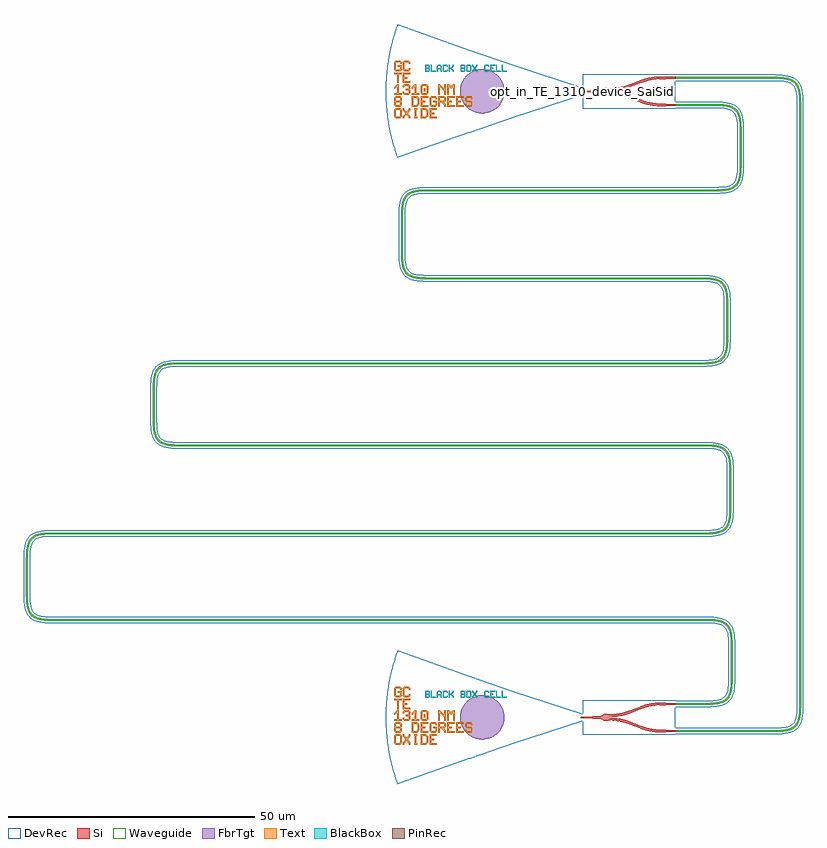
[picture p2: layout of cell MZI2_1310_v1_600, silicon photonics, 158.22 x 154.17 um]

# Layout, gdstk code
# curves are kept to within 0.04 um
import gdstk
lib = gdstk.Library(unit=1e-6, precision=1e-09)
def R(c, l, rs):  # rectangles x0, y0, x1, y1
    for r in rs: c.add(gdstk.rectangle(r[:2], r[2:], *l))
def P(c, l, *ps):  # polygons
    for p in ps: c.add(gdstk.Polygon(p, *l))
Si = (1, 0)
PinRec = (1, 10)
Waveguide = (1, 99)
Text = (10, 0)
DevRec = (68, 0)
FbrTgt = (81, 0)
BlackBox = (998, 0)

text = lib.new_cell('TEXT')
P(text, BlackBox, [(0,0),(0,1.4),(0.8,1.4),(1,1.2),(0.2,1.2),(0.2,0.8),(0.7,0.8),(0.8,0.9),(0.8,1.1),(0.7,1.2),(1,1.2),(1,0.8),(0.9,0.7),(1,0.6),(0.2,0.6),(0.2,0.2),(0.7,0.2),(0.8,0.3),(0.8,0.5),(0.7,0.6),(1,0.6),(1,0.2),(0.8,0)],
  [(1.2,0),(1.2,1.4),(1.4,1.4),(1.4,0.2),(2.2,0.2),(2.2,0)],
  [(2.4,0),(2.4,1.1),(2.7,1.4),(3.1,1.4),(3.3,1.2),(2.8,1.2),(2.6,1),(2.6,0.7),(3.2,0.7),(3.2,1),(3,1.2),(3.3,1.2),(3.4,1.1),(3.4,0),(3.2,0),(3.2,0.5),(2.6,0.5),(2.6,0)],
  [(3.8,0),(3.6,0.2),(3.6,1.2),(3.8,1.4),(4.4,1.4),(4.6,1.2),(4.6,1),(4.4,1),(4.4,1.1),(4.3,1.2),(3.9,1.2),(3.8,1.1),(3.8,0.3),(3.9,0.2),(4.3,0.2),(4.4,0.3),(4.4,0.4),(4.6,0.4),(4.6,0.2),(4.4,0)],
  [(4.8,0),(4.8,1.4),(5,1.4),(5,0.8),(5.2,0.8),(5.6,1.2),(5.6,1.4),(5.8,1.4),(5.8,1.1),(5.4,0.7),(5.8,0.3),(5.8,0),(5.6,0),(5.6,0.2),(5.2,0.6),(5,0.6),(5,0)],
  [(7.2,0),(7.2,1.4),(8,1.4),(8.2,1.2),(7.4,1.2),(7.4,0.8),(7.9,0.8),(8,0.9),(8,1.1),(7.9,1.2),(8.2,1.2),(8.2,0.8),(8.1,0.7),(8.2,0.6),(7.4,0.6),(7.4,0.2),(7.9,0.2),(8,0.3),(8,0.5),(7.9,0.6),(8.2,0.6),(8.2,0.2),(8,0)],
  [(8.6,0),(8.4,0.2),(8.4,1.2),(8.6,1.4),(9.2,1.4),(9.4,1.2),(9.4,0.7),(9.2,0.7),(9.2,1.1),(9.1,1.2),(8.7,1.2),(8.6,1.1),(8.6,0.3),(8.7,0.2),(9.1,0.2),(9.2,0.3),(9.2,0.7),(9.4,0.7),(9.4,0.2),(9.2,0)],
  [(9.6,0),(9.6,0.3),(9.9,0.6),(9.9,0.8),(9.6,1.1),(9.6,1.4),(9.8,1.4),(9.8,1.2),(10.1,0.9),(10.4,1.2),(10.4,1.4),(10.6,1.4),(10.6,1.1),(10.3,0.8),(10.3,0.6),(10.6,0.3),(10.6,0),(10.4,0),(10.4,0.2),(10.1,0.5),(9.8,0.2),(9.8,0)],
  [(12.2,0),(12,0.2),(12,1.2),(12.2,1.4),(12.8,1.4),(13,1.2),(13,1),(12.8,1),(12.8,1.1),(12.7,1.2),(12.3,1.2),(12.2,1.1),(12.2,0.3),(12.3,0.2),(12.7,0.2),(12.8,0.3),(12.8,0.4),(13,0.4),(13,0.2),(12.8,0)],
  [(13.2,0),(13.2,1.4),(14.2,1.4),(14.2,1.2),(13.4,1.2),(13.4,0.8),(13.8,0.8),(13.8,0.6),(13.4,0.6),(13.4,0.2),(14.2,0.2),(14.2,0)],
  [(14.4,0),(14.4,1.4),(14.6,1.4),(14.6,0.2),(15.4,0.2),(15.4,0)],
  [(15.6,0),(15.6,1.4),(15.8,1.4),(15.8,0.2),(16.6,0.2),(16.6,0)])

gc_te_1310_8degoxide_bb = lib.new_cell('GC_TE_1310_8degOxide_BB')
R(gc_te_1310_8degoxide_bb, Si, [(-0.4,-0.175,0,0.175)])
R(gc_te_1310_8degoxide_bb, Text, [(-32.27,0.06,-31.97,0.66)])
P(gc_te_1310_8degoxide_bb, Text, [(-37.67,1.71),(-37.67,3.51),(-38.27,3.51),(-38.27,3.81),(-36.77,3.81),(-36.77,3.51),(-37.37,3.51),(-37.37,1.71)],
  [(-37.97,-5.49),(-38.27,-5.19),(-38.27,-3.69),(-37.97,-3.39),(-37.07,-3.39),(-36.77,-3.69),(-36.77,-4.44),(-37.07,-4.44),(-37.07,-3.84),(-37.22,-3.69),(-37.82,-3.69),(-37.97,-3.84),(-37.97,-5.04),(-37.82,-5.19),(-37.22,-5.19),(-37.07,-5.04),(-37.07,-4.44),(-36.77,-4.44),(-36.77,-5.19),(-37.07,-5.49)],
  [(-31.07,-5.49),(-31.07,-3.39),(-29.57,-3.39),(-29.57,-3.69),(-30.77,-3.69),(-30.77,-4.29),(-30.17,-4.29),(-30.17,-4.59),(-30.77,-4.59),(-30.77,-5.19),(-29.57,-5.19),(-29.57,-5.49)],
  [(-32.87,-3.09),(-32.87,-0.99),(-31.37,-0.99),(-31.37,-1.29),(-32.57,-1.29),(-32.57,-1.89),(-31.97,-1.89),(-31.97,-2.19),(-32.57,-2.19),(-32.57,-2.79),(-31.37,-2.79),(-31.37,-3.09)],
  [(-27.47,-3.09),(-27.47,-0.99),(-25.97,-0.99),(-25.97,-1.29),(-27.17,-1.29),(-27.17,-1.89),(-26.57,-1.89),(-26.57,-2.19),(-27.17,-2.19),(-27.17,-2.79),(-25.97,-2.79),(-25.97,-3.09)],
  [(-25.67,-3.09),(-25.67,-0.99),(-24.17,-0.99),(-24.17,-1.29),(-25.37,-1.29),(-25.37,-1.89),(-24.77,-1.89),(-24.77,-2.19),(-25.37,-2.19),(-25.37,-2.79),(-24.17,-2.79),(-24.17,-3.09)],
  [(-36.47,1.71),(-36.47,3.81),(-34.97,3.81),(-34.97,3.51),(-36.17,3.51),(-36.17,2.91),(-35.57,2.91),(-35.57,2.61),(-36.17,2.61),(-36.17,2.01),(-34.97,2.01),(-34.97,1.71)],
  [(-27.47,-0.69),(-27.47,1.41),(-27.17,1.41),(-26.87,1.11),(-26.57,1.11),(-26.27,1.41),(-25.97,1.41),(-25.97,-0.69),(-26.27,-0.69),(-26.27,0.81),(-26.42,0.81),(-26.72,0.51),(-27.02,0.81),(-27.17,0.81),(-27.17,-0.69)],
  [(-29.27,-0.69),(-29.27,1.41),(-28.97,1.41),(-28.22,0.66),(-28.07,0.66),(-28.07,1.41),(-27.77,1.41),(-27.77,-0.69),(-28.07,-0.69),(-28.07,0.06),(-28.82,0.81),(-28.97,0.81),(-28.97,-0.69)],
  [(-34.22,-5.49),(-34.22,-5.19),(-34.07,-5.19),(-34.07,-3.69),(-34.22,-3.69),(-34.22,-3.39),(-33.62,-3.39),(-33.62,-3.69),(-33.77,-3.69),(-33.77,-5.19),(-33.62,-5.19),(-33.62,-5.49)],
  [(-36.17,-0.69),(-36.47,-0.39),(-36.47,-0.09),(-36.17,-0.09),(-36.17,-0.24),(-36.02,-0.39),(-35.42,-0.39),(-35.27,-0.24),(-35.27,0.06),(-35.42,0.21),(-35.87,0.21),(-35.87,0.51),(-35.42,0.51),(-35.27,0.66),(-35.27,0.96),(-35.42,1.11),(-36.02,1.11),(-36.17,0.96),(-36.17,0.81),(-36.47,0.81),(-36.47,1.11),(-36.17,1.41),(-35.27,1.41),(-34.97,1.11),(-34.97,0.51),(-35.12,0.36),(-34.97,0.21),(-34.97,-0.39),(-35.27,-0.69)],
  [(-29.27,-3.09),(-29.27,-0.99),(-28.07,-0.99),(-27.77,-1.29),(-28.97,-1.29),(-28.97,-1.89),(-28.22,-1.89),(-28.07,-1.74),(-28.07,-1.44),(-28.22,-1.29),(-27.77,-1.29),(-27.77,-1.89),(-28.07,-2.19),(-28.07,-2.34),(-27.77,-2.64),(-27.77,-3.09),(-28.07,-3.09),(-28.07,-2.79),(-28.67,-2.19),(-28.97,-2.19),(-28.97,-3.09)],
  [(-30.77,-3.09),(-31.07,-2.79),(-31.07,-1.29),(-30.77,-0.99),(-29.87,-0.99),(-29.57,-1.29),(-29.57,-1.59),(-29.87,-1.59),(-29.87,-1.44),(-30.02,-1.29),(-30.62,-1.29),(-30.77,-1.44),(-30.77,-2.64),(-30.62,-2.79),(-30.02,-2.79),(-29.87,-2.64),(-29.87,-2.19),(-30.32,-2.19),(-30.32,-1.89),(-29.57,-1.89),(-29.57,-2.79),(-29.87,-3.09)],
  [(-37.97,4.11),(-38.27,4.41),(-38.27,5.91),(-37.97,6.21),(-37.07,6.21),(-36.77,5.91),(-36.77,5.61),(-37.07,5.61),(-37.07,5.76),(-37.22,5.91),(-37.82,5.91),(-37.97,5.76),(-37.97,4.56),(-37.82,4.41),(-37.22,4.41),(-37.07,4.56),(-37.07,5.01),(-37.52,5.01),(-37.52,5.31),(-36.77,5.31),(-36.77,4.41),(-37.07,4.11)],
  [(-32.57,-0.69),(-32.87,-0.39),(-32.87,1.11),(-32.57,1.41),(-31.67,1.41),(-31.37,1.11),(-32.42,1.11),(-32.57,0.96),(-32.57,-0.24),(-32.42,-0.39),(-31.82,-0.39),(-31.67,-0.24),(-31.67,0.96),(-31.82,1.11),(-31.37,1.11),(-31.37,-0.39),(-31.67,-0.69)],
  [(-32.87,-5.49),(-32.87,-3.39),(-31.82,-3.39),(-31.52,-3.69),(-32.57,-3.69),(-32.57,-5.19),(-31.97,-5.19),(-31.67,-4.89),(-31.67,-3.99),(-31.97,-3.69),(-31.52,-3.69),(-31.37,-3.84),(-31.37,-5.04),(-31.82,-5.49)],
  [(-34.67,-3.09),(-34.67,-0.99),(-33.62,-0.99),(-33.32,-1.29),(-34.37,-1.29),(-34.37,-2.79),(-33.77,-2.79),(-33.47,-2.49),(-33.47,-1.59),(-33.77,-1.29),(-33.32,-1.29),(-33.17,-1.44),(-33.17,-2.64),(-33.62,-3.09)],
  [(-23.57,-3.09),(-23.87,-2.79),(-23.87,-2.49),(-23.57,-2.49),(-23.57,-2.64),(-23.42,-2.79),(-22.82,-2.79),(-22.67,-2.64),(-22.67,-2.34),(-22.82,-2.19),(-23.57,-2.19),(-23.87,-1.89),(-23.87,-1.29),(-23.57,-0.99),(-22.67,-0.99),(-22.37,-1.29),(-22.37,-1.59),(-22.67,-1.59),(-22.67,-1.44),(-22.82,-1.29),(-23.42,-1.29),(-23.57,-1.44),(-23.57,-1.74),(-23.42,-1.89),(-22.67,-1.89),(-22.37,-2.19),(-22.37,-2.79),(-22.67,-3.09)],
  [(-37.97,-3.09),(-38.27,-2.79),(-38.27,-2.19),(-38.12,-2.04),(-38.27,-1.89),(-38.27,-1.29),(-37.97,-0.99),(-37.07,-0.99),(-36.77,-1.29),(-37.82,-1.29),(-37.97,-1.44),(-37.97,-1.74),(-37.82,-1.89),(-37.22,-1.89),(-37.07,-1.74),(-37.07,-1.44),(-37.22,-1.29),(-36.77,-1.29),(-36.77,-1.89),(-36.92,-2.04),(-36.77,-2.19),(-37.82,-2.19),(-37.97,-2.34),(-37.97,-2.64),(-37.82,-2.79),(-37.22,-2.79),(-37.07,-2.64),(-37.07,-2.34),(-37.22,-2.19),(-36.77,-2.19),(-36.77,-2.79),(-37.07,-3.09)],
  [(-38.27,-0.69),(-38.27,-0.39),(-37.67,-0.39),(-37.67,0.81),(-37.82,0.81),(-38.12,0.51),(-38.27,0.51),(-38.27,0.81),(-37.67,1.41),(-37.37,1.41),(-37.37,-0.39),(-36.77,-0.39),(-36.77,-0.69)],
  [(-34.67,-0.69),(-34.67,-0.39),(-34.07,-0.39),(-34.07,0.81),(-34.22,0.81),(-34.52,0.51),(-34.67,0.51),(-34.67,0.81),(-34.07,1.41),(-33.77,1.41),(-33.77,-0.39),(-33.17,-0.39),(-33.17,-0.69)],
  [(-36.47,-5.49),(-36.47,-5.04),(-36.02,-4.59),(-36.02,-4.29),(-36.47,-3.84),(-36.47,-3.39),(-36.17,-3.39),(-36.17,-3.69),(-35.72,-4.14),(-35.27,-3.69),(-35.27,-3.39),(-34.97,-3.39),(-34.97,-3.84),(-35.42,-4.29),(-35.42,-4.59),(-34.97,-5.04),(-34.97,-5.49),(-35.27,-5.49),(-35.27,-5.19),(-35.72,-4.74),(-36.17,-5.19),(-36.17,-5.49)],
  [(-36.17,4.11),(-36.47,4.41),(-36.47,5.91),(-36.17,6.21),(-35.27,6.21),(-34.97,5.91),(-34.97,5.61),(-35.27,5.61),(-35.27,5.76),(-35.42,5.91),(-36.02,5.91),(-36.17,5.76),(-36.17,4.56),(-36.02,4.41),(-35.42,4.41),(-35.27,4.56),(-35.27,4.71),(-34.97,4.71),(-34.97,4.41),(-35.27,4.11)])
P(gc_te_1310_8degoxide_bb, DevRec, [(-37.607,-13.5),(-38.627,-10.245),(-39.378,-6.832),(-39.647,-5.058),(-39.835,-3.274),(-39.969,0.224),(-39.812,3.541),(-39.331,7.097),(-38.557,10.505),(-37.546,13.669),(-22.8,8.353),(-14.109,5.36),(0,0.75),(0,-0.75),(-14.109,-5.36)])
P(gc_te_1310_8degoxide_bb, FbrTgt, [(-20.621,-4.5),(-21.495,-4.37),(-22.326,-4.073),(-23.084,-3.619),(-23.738,-3.026),(-24.264,-2.316),(-24.642,-1.518),(-24.857,-0.661),(-24.9,0.221),(-24.77,1.095),(-24.473,1.926),(-24.019,2.684),(-23.426,3.338),(-22.716,3.864),(-21.918,4.242),(-21.061,4.457),(-20.179,4.5),(-19.305,4.37),(-18.474,4.073),(-17.716,3.619),(-17.062,3.026),(-16.536,2.316),(-16.158,1.518),(-15.943,0.661),(-15.9,-0.221),(-16.03,-1.095),(-16.327,-1.926),(-16.781,-2.684),(-17.374,-3.338),(-18.084,-3.864),(-18.882,-4.242),(-19.739,-4.457)])
gc_te_1310_8degoxide_bb.add(gdstk.FlexPath([(-0.01,0),(0.01,0)], 0.35, ends="flush", simple_path=True, layer=1, datatype=10))  # PinRec
gc_te_1310_8degoxide_bb.add(gdstk.Reference(text, (-32,4)))
gc_te_1310_8degoxide_bb.add(gdstk.Label('Lumerical_INTERCONNECT_library=Design kits/ebeam', (-29,-7), layer=68, texttype=0))
gc_te_1310_8degoxide_bb.add(gdstk.Label('Component=GC_TE_1310_8degOxide_BB', (-28,-5), layer=68, texttype=0))
gc_te_1310_8degoxide_bb.add(gdstk.Label('opt1', (0,0), layer=1, texttype=10))

ebeam_y_1310 = lib.new_cell('ebeam_y_1310')
R(ebeam_y_1310, Si, [(6.5,-3,7.4,-2.5), (-7.4,-0.25,-6,0.25), (6.5,2.5,7.4,3)])
P(ebeam_y_1310, Si, [(6.458,-3),(6.237,-2.997),(6.237,-2.497),(6.5,-2.5),(6.5,-3)],
  [(5.033,-2.908),(3.59,-2.634),(2.265,-2.21),(2.445,-1.744),(3.731,-2.154),(5.033,-2.404)],
  [(6.233,-2.997),(5.033,-2.908),(5.033,-2.404),(6.237,-2.497)],
  [(2.265,-2.21),(0.055,-1.356),(0.235,-0.89),(2.445,-1.744)],
  [(-0.762,-1.076),(-2.334,-0.724),(-4,-0.6),(-4,-0.1),(-2.381,-0.212),(-0.762,-0.555)],
  [(0.055,-1.356),(-0.762,-1.076),(-0.762,-0.555),(0.235,-0.89)],
  [(6.237,2.497),(6.237,2.997),(6.5,3),(6.5,2.5)],
  [(2.445,1.744),(2.267,2.211),(3.59,2.634),(5.033,2.908),(5.033,2.404),(3.731,2.154)],
  [(5.033,2.404),(5.033,2.908),(6.237,2.997),(6.237,2.497)],
  [(0.235,0.89),(0.055,1.356),(2.265,2.21),(2.445,1.744)],
  [(-4,0.1),(-4,0.6),(-2.334,0.724),(-0.762,1.076),(-0.762,0.555),(-2.381,0.212)],
  [(-0.762,0.555),(-0.762,1.076),(0.055,1.356),(0.235,0.89)],
  [(-5.122,-0.662),(-5.442,-0.374),(-5.808,-0.255),(-6,-0.25),(-6,0.25),(-5.817,0.253),(-5.442,0.374),(-5.122,0.662)],
  [(-4.957,-0.703),(-5.122,-0.662),(-5.122,0.662),(-4.538,0.703),(-4,0.6),(-4,-0.6),(-4.509,-0.701)],
  [(-7.4,-0.25),(-9.4,-0.175),(-9.4,0.175),(-7.4,0.25)],
  [(7.4,2.5),(7.4,3),(9.4,2.925),(9.4,2.575)],
  [(7.4,-3),(7.4,-2.5),(9.4,-2.575),(9.4,-2.925)])
R(ebeam_y_1310, DevRec, [(-9.4,-3.5,9.4,3.5)])
ebeam_y_1310.add(gdstk.FlexPath([(9.35,2.75),(9.45,2.75)], 0.35, ends="flush", simple_path=True, layer=1, datatype=10))  # PinRec
ebeam_y_1310.add(gdstk.FlexPath([(9.35,-2.75),(9.45,-2.75)], 0.35, ends="flush", simple_path=True, layer=1, datatype=10))  # PinRec
ebeam_y_1310.add(gdstk.FlexPath([(-9.35,0),(-9.45,0)], 0.35, ends="flush", simple_path=True, layer=1, datatype=10))  # PinRec
ebeam_y_1310.add(gdstk.Label('Ref: Y Zhang, Opt. Express, 21/1, 2013, for 1550 nm\nWorks reasonably well at 1310 nm', (-9.25,-1), layer=10, texttype=0))
ebeam_y_1310.add(gdstk.Label('Lumerical_INTERCONNECT_library=Design kits/ebeam', (-6.86,-2.19), layer=68, texttype=0))
ebeam_y_1310.add(gdstk.Label('Component=ebeam_y_1310', (-9,1.5), layer=68, texttype=0))
ebeam_y_1310.add(gdstk.Label('opt2', (9.4,2.75), layer=1, texttype=10))
ebeam_y_1310.add(gdstk.Label('opt3', (9.4,-2.75), layer=1, texttype=10))
ebeam_y_1310.add(gdstk.Label('opt1', (-9.4,0), layer=1, texttype=10))

waveguide_14 = lib.new_cell('Waveguide$14')
P(waveguide_14, Si, [(58.769,16.075),(58.769,16.425),(65.62,16.43),(67.248,16.564),(68.08,16.775),(68.63,17.034),(69.066,17.374),(69.466,17.911),(69.666,18.361),(69.848,19.039),(70.006,20.617),(70.015,28.28),(69.923,30.018),(69.665,31.17),(69.465,31.62),(69.213,31.995),(68.904,32.304),(68.529,32.556),(67.688,32.874),(66.582,33.052),(65.19,33.105),(-67.8,33.105),(-69.406,33.179),(-70.234,33.311),(-70.808,33.475),(-71.308,33.699),(-71.737,33.987),(-72.094,34.344),(-72.382,34.773),(-72.606,35.273),(-72.77,35.847),(-72.902,36.675),(-72.971,37.845),(-72.975,45.83),(-72.919,47.255),(-72.733,48.415),(-72.501,49.097),(-72.246,49.561),(-71.832,50.042),(-71.421,50.347),(-70.807,50.636),(-70.233,50.8),(-69.405,50.932),(-68.235,51.001),(64.89,51.005),(66.102,51.045),(66.948,51.144),(67.78,51.355),(68.33,51.614),(68.842,52.034),(69.22,52.597),(69.484,53.332),(69.644,54.263),(69.715,55.83),(69.687,64.706),(69.483,66.179),(69.32,66.69),(69.046,67.215),(68.766,67.556),(68.424,67.837),(67.899,68.111),(67.388,68.274),(66.282,68.452),(64.89,68.505),(-42.075,68.505),(-43.681,68.579),(-44.946,68.829),(-45.465,69.037),(-45.911,69.308),(-46.287,69.648),(-46.522,69.95),(-46.777,70.414),(-46.969,70.951),(-47.157,71.899),(-47.241,73.035),(-47.245,80.756),(-47.176,81.926),(-47.008,82.905),(-46.718,83.71),(-46.286,84.353),(-45.696,84.837),(-44.945,85.172),(-44.027,85.378),(-42.923,85.478),(64.28,85.495),(66.181,85.609),(66.914,85.763),(67.514,85.991),(68.077,86.369),(68.497,86.881),(68.798,87.556),(68.992,88.42),(69.104,90.103),(69.105,97.57),(69.013,99.308),(68.907,99.928),(68.71,100.58),(68.436,101.105),(68.156,101.446),(67.814,101.727),(67.404,101.952),(66.913,102.128),(66.18,102.282),(64.497,102.394),(8.29,102.395),(7.052,102.435),(5.856,102.601),(5.282,102.765),(4.782,102.989),(4.454,103.198),(4.078,103.538),(3.773,103.949),(3.588,104.304),(3.288,105.293),(3.17,106.146),(3.119,107.135),(3.133,116.269),(3.209,117.202),(3.397,118.15),(3.647,118.81),(4.079,119.453),(4.669,119.937),(5.283,120.226),(6.013,120.422),(7.053,120.556),(8.29,120.595),(67,120.595),(68.568,120.667),(69.765,120.903),(70.535,121.264),(70.876,121.544),(71.157,121.886),(71.382,122.296),(71.558,122.787),(71.772,124.028),(71.825,125.42),(71.807,133.583),(71.627,135.108),(71.43,135.76),(71.156,136.285),(70.714,136.774),(70.124,137.132),(69.357,137.378),(68.567,137.504),(67.217,137.574),(58.769,137.575),(58.769,137.925),(67.435,137.921),(68.605,137.852),(69.584,137.684),(70.266,137.452),(70.73,137.197),(71.211,136.783),(71.516,136.372),(71.805,135.758),(71.969,135.184),(72.101,134.356),(72.17,133.186),(72.171,124.985),(72.12,123.996),(72.002,123.143),(71.702,122.154),(71.294,121.484),(70.731,120.974),(69.871,120.569),(68.606,120.319),(67,120.245),(8.29,120.245),(7.079,120.206),(6.079,120.078),(5.281,119.851),(4.756,119.577),(4.267,119.135),(3.909,118.545),(3.697,117.919),(3.557,117.158),(3.475,116.054),(3.466,107.353),(3.504,106.359),(3.603,105.513),(3.859,104.561),(4.073,104.131),(4.338,103.774),(4.95,103.295),(5.4,103.095),(5.932,102.943),(6.897,102.799),(8.29,102.745),(64.501,102.744),(65.517,102.706),(66.397,102.601),(67.15,102.422),(67.669,102.214),(68.115,101.943),(68.491,101.603),(68.796,101.192),(69.085,100.578),(69.361,99.352),(69.455,97.57),(69.454,90.099),(69.338,88.368),(69.132,87.45),(68.797,86.699),(68.313,86.109),(67.67,85.677),(67.01,85.427),(66.233,85.263),(65.326,85.173),(64.28,85.145),(-42.907,85.128),(-44.132,85.007),(-44.964,84.796),(-45.609,84.477),(-46.098,84.035),(-46.456,83.445),(-46.702,82.678),(-46.846,81.713),(-46.898,80.538),(-46.891,73.047),(-46.809,71.943),(-46.633,71.047),(-46.457,70.556),(-46.232,70.146),(-45.951,69.804),(-45.61,69.524),(-45.2,69.299),(-44.709,69.123),(-43.643,68.927),(-42.075,68.855),(64.89,68.855),(66.314,68.8),(67.474,68.614),(68.156,68.382),(68.62,68.127),(69.014,67.804),(69.336,67.411),(69.591,66.947),(69.823,66.265),(69.971,65.462),(70.037,64.726),(70.064,55.609),(69.972,54.049),(69.784,53.101),(69.472,52.323),(69.102,51.798),(68.512,51.314),(67.898,51.025),(67.168,50.829),(66.128,50.695),(64.89,50.655),(-68.433,50.646),(-69.537,50.564),(-70.298,50.424),(-70.924,50.212),(-71.514,49.854),(-71.956,49.365),(-72.23,48.84),(-72.427,48.188),(-72.571,47.223),(-72.625,45.83),(-72.621,37.851),(-72.554,36.713),(-72.394,35.782),(-72.231,35.271),(-72.017,34.841),(-71.752,34.484),(-71.428,34.19),(-70.925,33.899),(-70.434,33.723),(-69.193,33.509),(-67.8,33.455),(65.19,33.455),(66.427,33.416),(67.623,33.25),(68.197,33.086),(68.697,32.862),(69.025,32.653),(69.401,32.313),(69.706,31.902),(69.944,31.42),(70.123,30.865),(70.247,30.233),(70.363,28.502),(70.356,20.605),(70.192,18.973),(70.042,18.38),(69.834,17.861),(69.402,17.218),(68.812,16.734),(68.061,16.399),(67.143,16.193),(65.626,16.08)])
P(waveguide_14, Waveguide, [(58.769,16.075),(58.769,16.425),(65.62,16.43),(67.248,16.564),(68.08,16.775),(68.63,17.034),(69.066,17.374),(69.466,17.911),(69.666,18.361),(69.848,19.039),(70.006,20.617),(70.015,28.28),(69.923,30.018),(69.665,31.17),(69.465,31.62),(69.213,31.995),(68.904,32.304),(68.529,32.556),(67.688,32.874),(66.582,33.052),(65.19,33.105),(-67.8,33.105),(-69.406,33.179),(-70.234,33.311),(-70.808,33.475),(-71.308,33.699),(-71.737,33.987),(-72.094,34.344),(-72.382,34.773),(-72.606,35.273),(-72.77,35.847),(-72.902,36.675),(-72.971,37.845),(-72.975,45.83),(-72.919,47.255),(-72.733,48.415),(-72.501,49.097),(-72.246,49.561),(-71.832,50.042),(-71.421,50.347),(-70.807,50.636),(-70.233,50.8),(-69.405,50.932),(-68.235,51.001),(64.89,51.005),(66.102,51.045),(66.948,51.144),(67.78,51.355),(68.33,51.614),(68.842,52.034),(69.22,52.597),(69.484,53.332),(69.644,54.263),(69.715,55.83),(69.687,64.706),(69.483,66.179),(69.32,66.69),(69.046,67.215),(68.766,67.556),(68.424,67.837),(67.899,68.111),(67.388,68.274),(66.282,68.452),(64.89,68.505),(-42.075,68.505),(-43.681,68.579),(-44.946,68.829),(-45.465,69.037),(-45.911,69.308),(-46.287,69.648),(-46.522,69.95),(-46.777,70.414),(-46.969,70.951),(-47.157,71.899),(-47.241,73.035),(-47.245,80.756),(-47.176,81.926),(-47.008,82.905),(-46.718,83.71),(-46.286,84.353),(-45.696,84.837),(-44.945,85.172),(-44.027,85.378),(-42.923,85.478),(64.28,85.495),(66.181,85.609),(66.914,85.763),(67.514,85.991),(68.077,86.369),(68.497,86.881),(68.798,87.556),(68.992,88.42),(69.104,90.103),(69.105,97.57),(69.013,99.308),(68.907,99.928),(68.71,100.58),(68.436,101.105),(68.156,101.446),(67.814,101.727),(67.404,101.952),(66.913,102.128),(66.18,102.282),(64.497,102.394),(8.29,102.395),(7.052,102.435),(5.856,102.601),(5.282,102.765),(4.782,102.989),(4.454,103.198),(4.078,103.538),(3.773,103.949),(3.588,104.304),(3.288,105.293),(3.17,106.146),(3.119,107.135),(3.133,116.269),(3.209,117.202),(3.397,118.15),(3.647,118.81),(4.079,119.453),(4.669,119.937),(5.283,120.226),(6.013,120.422),(7.053,120.556),(8.29,120.595),(67,120.595),(68.568,120.667),(69.765,120.903),(70.535,121.264),(70.876,121.544),(71.157,121.886),(71.382,122.296),(71.558,122.787),(71.772,124.028),(71.825,125.42),(71.807,133.583),(71.627,135.108),(71.43,135.76),(71.156,136.285),(70.714,136.774),(70.124,137.132),(69.357,137.378),(68.567,137.504),(67.217,137.574),(58.769,137.575),(58.769,137.925),(67.435,137.921),(68.605,137.852),(69.584,137.684),(70.266,137.452),(70.73,137.197),(71.211,136.783),(71.516,136.372),(71.805,135.758),(71.969,135.184),(72.101,134.356),(72.17,133.186),(72.171,124.985),(72.12,123.996),(72.002,123.143),(71.702,122.154),(71.294,121.484),(70.731,120.974),(69.871,120.569),(68.606,120.319),(67,120.245),(8.29,120.245),(7.079,120.206),(6.079,120.078),(5.281,119.851),(4.756,119.577),(4.267,119.135),(3.909,118.545),(3.697,117.919),(3.557,117.158),(3.475,116.054),(3.466,107.353),(3.504,106.359),(3.603,105.513),(3.859,104.561),(4.073,104.131),(4.338,103.774),(4.95,103.295),(5.4,103.095),(5.932,102.943),(6.897,102.799),(8.29,102.745),(64.501,102.744),(65.517,102.706),(66.397,102.601),(67.15,102.422),(67.669,102.214),(68.115,101.943),(68.491,101.603),(68.796,101.192),(69.085,100.578),(69.361,99.352),(69.455,97.57),(69.454,90.099),(69.338,88.368),(69.132,87.45),(68.797,86.699),(68.313,86.109),(67.67,85.677),(67.01,85.427),(66.233,85.263),(65.326,85.173),(64.28,85.145),(-42.907,85.128),(-44.132,85.007),(-44.964,84.796),(-45.609,84.477),(-46.098,84.035),(-46.456,83.445),(-46.702,82.678),(-46.846,81.713),(-46.898,80.538),(-46.891,73.047),(-46.809,71.943),(-46.633,71.047),(-46.457,70.556),(-46.232,70.146),(-45.951,69.804),(-45.61,69.524),(-45.2,69.299),(-44.709,69.123),(-43.643,68.927),(-42.075,68.855),(64.89,68.855),(66.314,68.8),(67.474,68.614),(68.156,68.382),(68.62,68.127),(69.014,67.804),(69.336,67.411),(69.591,66.947),(69.823,66.265),(69.971,65.462),(70.037,64.726),(70.064,55.609),(69.972,54.049),(69.784,53.101),(69.472,52.323),(69.102,51.798),(68.512,51.314),(67.898,51.025),(67.168,50.829),(66.128,50.695),(64.89,50.655),(-68.433,50.646),(-69.537,50.564),(-70.298,50.424),(-70.924,50.212),(-71.514,49.854),(-71.956,49.365),(-72.23,48.84),(-72.427,48.188),(-72.571,47.223),(-72.625,45.83),(-72.621,37.851),(-72.554,36.713),(-72.394,35.782),(-72.231,35.271),(-72.017,34.841),(-71.752,34.484),(-71.428,34.19),(-70.925,33.899),(-70.434,33.723),(-69.193,33.509),(-67.8,33.455),(65.19,33.455),(66.427,33.416),(67.623,33.25),(68.197,33.086),(68.697,32.862),(69.025,32.653),(69.401,32.313),(69.706,31.902),(69.944,31.42),(70.123,30.865),(70.247,30.233),(70.363,28.502),(70.356,20.605),(70.192,18.973),(70.042,18.38),(69.834,17.861),(69.402,17.218),(68.812,16.734),(68.061,16.399),(67.143,16.193),(65.626,16.08)])
P(waveguide_14, DevRec, [(58.769,15.575),(58.769,16.925),(65.189,16.925),(66.946,17.024),(67.789,17.205),(68.388,17.472),(68.805,17.826),(69.113,18.324),(69.417,19.495),(69.505,20.598),(69.515,28.279),(69.416,30.036),(69.235,30.879),(69.112,31.207),(68.804,31.705),(68.614,31.895),(68.116,32.203),(67.398,32.428),(66.426,32.563),(65.19,32.605),(-67.8,32.605),(-69.742,32.716),(-70.805,32.947),(-71.279,33.126),(-72.101,33.64),(-72.725,34.369),(-72.955,34.802),(-73.268,35.786),(-73.465,37.582),(-73.475,45.831),(-73.428,47.175),(-73.267,48.325),(-72.954,49.309),(-72.724,49.742),(-72.44,50.131),(-71.711,50.755),(-71.278,50.985),(-70.294,51.298),(-68.498,51.495),(64.89,51.505),(66.646,51.604),(67.489,51.785),(68.088,52.052),(68.505,52.406),(68.813,52.904),(69.038,53.622),(69.173,54.594),(69.215,63.679),(69.172,64.917),(69.037,65.889),(68.935,66.279),(68.668,66.878),(68.504,67.105),(68.087,67.459),(67.488,67.726),(67.098,67.828),(66.126,67.963),(64.89,68.005),(-42.075,68.005),(-44.017,68.116),(-45.08,68.347),(-45.554,68.526),(-46.376,69.04),(-47,69.769),(-47.409,70.676),(-47.64,71.739),(-47.74,72.982),(-47.739,81.02),(-47.639,82.262),(-47.408,83.325),(-46.999,84.232),(-46.375,84.961),(-45.986,85.245),(-45.079,85.654),(-44.016,85.885),(-42.773,85.985),(64.28,85.995),(66.036,86.094),(67.207,86.398),(67.705,86.706),(68.059,87.123),(68.326,87.722),(68.507,88.565),(68.605,90.321),(68.605,97.569),(68.562,98.807),(68.325,100.169),(68.202,100.497),(67.894,100.995),(67.704,101.185),(67.206,101.493),(66.035,101.797),(64.28,101.895),(8.29,101.895),(6.945,101.942),(5.795,102.103),(4.811,102.416),(3.989,102.93),(3.365,103.659),(3.135,104.092),(2.822,105.076),(2.625,106.872),(2.626,116.12),(2.726,117.362),(2.957,118.425),(3.366,119.332),(3.65,119.721),(3.99,120.061),(4.812,120.575),(5.796,120.888),(6.946,121.049),(8.29,121.095),(67,121.095),(68.237,121.138),(69.599,121.375),(70.198,121.642),(70.425,121.806),(70.779,122.223),(71.046,122.822),(71.148,123.212),(71.283,124.184),(71.314,133.402),(71.147,134.959),(71.045,135.349),(70.778,135.948),(70.424,136.365),(69.926,136.673),(69.208,136.898),(68.236,137.033),(58.769,137.075),(58.769,138.425),(67.698,138.415),(69.494,138.218),(70.478,137.905),(70.911,137.675),(71.3,137.391),(71.924,136.662),(72.154,136.229),(72.467,135.245),(72.664,133.45),(72.665,124.722),(72.468,122.926),(72.155,121.942),(71.641,121.12),(70.912,120.496),(70.005,120.087),(68.942,119.856),(67,119.745),(8.29,119.745),(7.054,119.703),(5.692,119.466),(5.093,119.199),(4.676,118.845),(4.368,118.347),(4.143,117.629),(3.976,116.072),(3.965,107.571),(4.063,105.815),(4.244,104.972),(4.367,104.644),(4.675,104.146),(4.865,103.956),(5.363,103.648),(6.081,103.423),(7.053,103.288),(8.29,103.245),(64.28,103.245),(66.221,103.135),(67.284,102.904),(67.758,102.725),(68.58,102.211),(68.92,101.871),(69.434,101.049),(69.613,100.575),(69.844,99.512),(69.955,97.571),(69.945,89.622),(69.748,87.826),(69.435,86.842),(68.921,86.02),(68.581,85.68),(67.759,85.166),(67.285,84.987),(66.222,84.756),(64.28,84.645),(-42.727,84.635),(-43.83,84.547),(-44.673,84.366),(-45.272,84.099),(-45.689,83.745),(-45.997,83.247),(-46.222,82.529),(-46.357,81.557),(-46.4,80.319),(-46.39,73.028),(-46.302,71.925),(-46.121,71.082),(-45.854,70.483),(-45.69,70.256),(-45.273,69.902),(-44.674,69.635),(-44.284,69.533),(-43.312,69.398),(-42.075,69.355),(64.89,69.355),(66.234,69.309),(67.384,69.148),(68.368,68.835),(68.801,68.605),(69.53,67.981),(69.814,67.592),(70.223,66.685),(70.357,66.175),(70.518,65.025),(70.565,63.681),(70.565,55.829),(70.455,53.889),(70.224,52.826),(69.815,51.919),(69.531,51.53),(68.802,50.906),(68.369,50.676),(67.385,50.363),(66.235,50.202),(64.89,50.155),(-68.452,50.145),(-70.008,49.978),(-70.726,49.753),(-71.224,49.445),(-71.578,49.028),(-71.845,48.429),(-72.082,47.067),(-72.125,38.281),(-72.083,37.044),(-71.948,36.072),(-71.846,35.682),(-71.579,35.083),(-71.415,34.856),(-70.998,34.502),(-70.399,34.235),(-70.009,34.133),(-69.037,33.998),(-67.8,33.955),(65.19,33.955),(66.534,33.909),(67.684,33.748),(68.668,33.435),(69.101,33.205),(69.83,32.581),(70.344,31.759),(70.523,31.285),(70.754,30.222),(70.865,28.281),(70.855,20.552),(70.658,18.756),(70.345,17.772),(69.831,16.95),(69.491,16.61),(68.669,16.096),(67.685,15.783),(65.89,15.586)])
waveguide_14.add(gdstk.FlexPath([(58.779,137.75),(58.759,137.75)], 0.35, ends="flush", simple_path=True, layer=1, datatype=10))  # PinRec
waveguide_14.add(gdstk.FlexPath([(58.779,16.25),(58.759,16.25)], 0.35, ends="flush", simple_path=True, layer=1, datatype=10))  # PinRec
waveguide_14.add(gdstk.Label('Lumerical_INTERCONNECT_library=Design kits/EBeam', (58.769,137.68), layer=68, texttype=0))
waveguide_14.add(gdstk.Label('Component=ebeam_wg_integral_1310', (58.769,137.82), layer=68, texttype=0))
waveguide_14.add(gdstk.Label('cellName=Waveguide', (58.769,137.89), layer=68, texttype=0))
waveguide_14.add(gdstk.Label('Length=778.203 (microns)', (58.769,137.33), layer=68, texttype=0))
waveguide_14.add(gdstk.Label('waveguide_type=Strip TE 1310 nm, w=350 nm', (58.769,137.61), layer=68, texttype=0))
waveguide_14.add(gdstk.Label('opt1', (58.769,137.75), layer=1, texttype=10))
waveguide_14.add(gdstk.Label('opt2', (58.769,16.25), layer=1, texttype=10))

waveguide_12 = lib.new_cell('Waveguide$12')
P(waveguide_12, Si, [(58.769,10.575),(58.769,10.925),(79.065,10.925),(80.803,11.017),(81.423,11.123),(82.075,11.32),(82.505,11.534),(82.862,11.799),(83.222,12.216),(83.447,12.626),(83.752,13.693),(83.851,14.539),(83.89,15.75),(83.89,138.25),(83.85,139.462),(83.722,140.462),(83.54,141.14),(83.34,141.59),(83.088,141.965),(82.779,142.274),(82.404,142.526),(81.954,142.726),(81.422,142.878),(80.632,143.004),(79.065,143.075),(58.769,143.075),(58.769,143.425),(79.286,143.424),(80.302,143.386),(81.182,143.281),(81.935,143.102),(82.572,142.832),(83.097,142.462),(83.511,141.981),(83.819,141.39),(84.034,140.684),(84.166,139.856),(84.235,138.686),(84.24,15.75),(84.201,14.513),(84.096,13.633),(83.917,12.88),(83.709,12.361),(83.438,11.915),(83.098,11.539),(82.687,11.234),(82.205,10.996),(81.65,10.817),(80.847,10.669),(79.065,10.575)])
P(waveguide_12, Waveguide, [(58.769,10.575),(58.769,10.925),(79.065,10.925),(80.803,11.017),(81.423,11.123),(82.075,11.32),(82.505,11.534),(82.862,11.799),(83.222,12.216),(83.447,12.626),(83.752,13.693),(83.851,14.539),(83.89,15.75),(83.89,138.25),(83.85,139.462),(83.722,140.462),(83.54,141.14),(83.34,141.59),(83.088,141.965),(82.779,142.274),(82.404,142.526),(81.954,142.726),(81.422,142.878),(80.632,143.004),(79.065,143.075),(58.769,143.075),(58.769,143.425),(79.286,143.424),(80.302,143.386),(81.182,143.281),(81.935,143.102),(82.572,142.832),(83.097,142.462),(83.511,141.981),(83.819,141.39),(84.034,140.684),(84.166,139.856),(84.235,138.686),(84.24,15.75),(84.201,14.513),(84.096,13.633),(83.917,12.88),(83.709,12.361),(83.438,11.915),(83.098,11.539),(82.687,11.234),(82.205,10.996),(81.65,10.817),(80.847,10.669),(79.065,10.575)])
P(waveguide_12, DevRec, [(58.769,10.075),(58.769,11.425),(79.065,11.425),(80.821,11.524),(81.664,11.705),(81.992,11.828),(82.49,12.136),(82.68,12.326),(82.988,12.824),(83.292,13.995),(83.39,15.75),(83.39,138.25),(83.347,139.487),(83.212,140.459),(83.11,140.849),(82.843,141.448),(82.679,141.675),(82.262,142.029),(81.663,142.296),(81.273,142.398),(80.301,142.533),(58.769,142.575),(58.769,143.925),(79.065,143.925),(81.006,143.815),(82.069,143.584),(82.543,143.405),(83.365,142.891),(83.705,142.551),(83.989,142.162),(84.398,141.255),(84.629,140.192),(84.729,138.95),(84.74,15.75),(84.63,13.809),(84.399,12.746),(84.22,12.272),(83.706,11.45),(83.366,11.11),(82.544,10.596),(82.07,10.417),(81.007,10.186),(79.065,10.075)])
waveguide_12.add(gdstk.FlexPath([(58.779,143.25),(58.759,143.25)], 0.35, ends="flush", simple_path=True, layer=1, datatype=10))  # PinRec
waveguide_12.add(gdstk.FlexPath([(58.779,10.75),(58.759,10.75)], 0.35, ends="flush", simple_path=True, layer=1, datatype=10))  # PinRec
waveguide_12.add(gdstk.Label('Lumerical_INTERCONNECT_library=Design kits/EBeam', (58.769,143.18), layer=68, texttype=0))
waveguide_12.add(gdstk.Label('Component=ebeam_wg_integral_1310', (58.769,143.32), layer=68, texttype=0))
waveguide_12.add(gdstk.Label('cellName=Waveguide', (58.769,143.39), layer=68, texttype=0))
waveguide_12.add(gdstk.Label('Spice_param:wg_length=0.000179999 wg_width=3.5e-07 points="[[58.769,143.25],[84.065,143.25],[84.065,10.75],[58.769,10.75]]" radius=5e-06', (58.769,143.25), layer=68, texttype=0))
waveguide_12.add(gdstk.Label('Length=179.999 (microns)', (58.769,142.83), layer=68, texttype=0))
waveguide_12.add(gdstk.Label('waveguide_type=Strip TE 1310 nm, w=350 nm', (58.769,143.11), layer=68, texttype=0))
waveguide_12.add(gdstk.Label('opt1', (58.769,143.25), layer=1, texttype=10))
waveguide_12.add(gdstk.Label('opt2', (58.769,10.75), layer=1, texttype=10))

mzi2_1310_v1_600 = lib.new_cell('MZI2_1310_v1_600')
mzi2_1310_v1_600.add(gdstk.Reference(gc_te_1310_8degoxide_bb, (39.969,13.5)))
mzi2_1310_v1_600.add(gdstk.Reference(ebeam_y_1310, (49.369,140.5)))
mzi2_1310_v1_600.add(gdstk.Reference(ebeam_y_1310, (49.369,13.5)))
mzi2_1310_v1_600.add(gdstk.Reference(gc_te_1310_8degoxide_bb, (39.969,140.5)))
mzi2_1310_v1_600.add(gdstk.Reference(waveguide_14, (0,0)))
mzi2_1310_v1_600.add(gdstk.Reference(waveguide_12, (0,0)))
mzi2_1310_v1_600.add(gdstk.Label('opt_in_TE_1310_device_SaiSidhartha_MZI2', (39.969,140.5), layer=10, texttype=0))

lib.write_gds('MZI2_1310_v1_600.gds')
